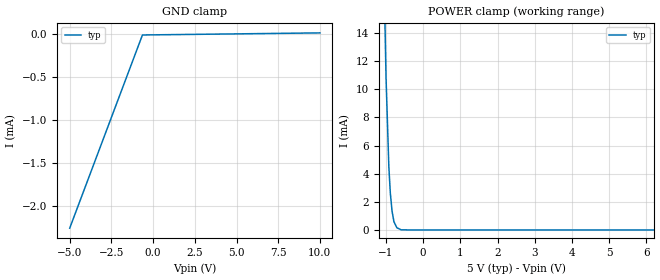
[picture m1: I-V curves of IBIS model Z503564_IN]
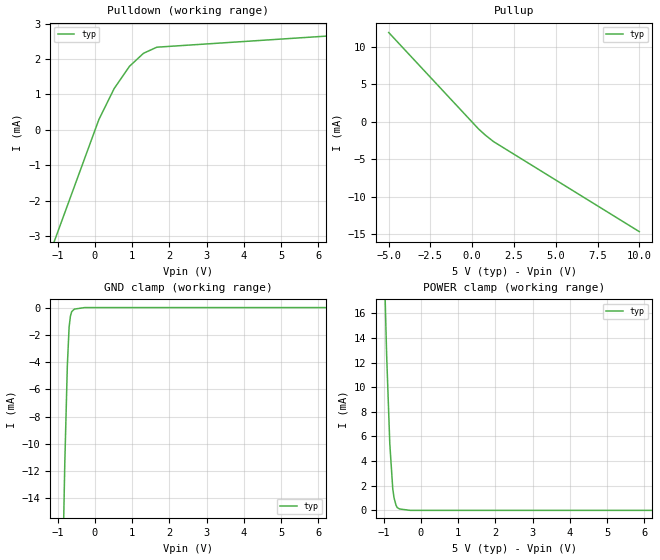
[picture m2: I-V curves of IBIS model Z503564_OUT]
| YOU ARE ONLY AUTHORIZED TO USE THIS SOFTWARE
| ACCORDING TO LICENSOR'S LICENSE RESTRICTIONS.
[IBIS Ver] 3.1
[File Name] mc14075bcd.ibs
[File Rev] 2.0
[Source] Measured and created by ICX Technology
[Date] Friday 7/14/00 9:07:53 AM
[Copyright]
| (C) COPYRIGHT 1993-2000
| MENTOR GRAPHICS CORPORATION
| ICX STANDARD LIBRARY, ICX PROJECT MODELING,
| ICX CUSTOM MODELING, ICX VENDOR MODEL
| ALL RIGHTS RESERVED.
| THE FOLLOWING ARE TRADEMARKS OR SERVICE MARKS OF
| MENTOR GRAPHICS CORPORATION:ICX (R), ICX STANDARD
| LIBRARY(R), ICX PROJECT MODELING(R), ICX CUSTOM
| MODELING(R), qualityIBIS(TM), MODELVIEWER(TM),
| AND MODELEDITOR(TM)
| ALL COPIES OF SOFTWARE, INCLUDING BUT NOT LIMITED TO
| ANY MODIFICATIONS, ENHANCEMENTS OR DERIVATIVE WORKS,
| MUST CONTAIN ALL MENTOR GRAPHICS CORPORATION'S
| NOTICES AND LEGENDS, INCLUDING THOSE EMBEDDED IN
| SOFTWARE AND THOSE AFFIXED TO SOFTWARE MEDIUM
| AND CONTAINER, AS RECEIVED FROM MENTOR GRAPHICS
| CORPORATION.
|  ZAP Model Builder 2.7
[Component] MC14075BCD
[Manufacturer] OnSemiconductor
[Package]
| variable   typ   min   max
R_pkg  .155ohms NA NA
L_pkg  3.028nH NA NA
C_pkg  .381pF NA NA
[Pin] signal_name  model_name  R_pin  L_pin C_pin
1 IN1A Z503564_IN .16 3.587n .407p
2 IN2A Z503564_IN .156 3.147n .387p
3 IN1B Z503564_IN .152 2.717n .367p
4 IN2B Z503564_IN .148 2.297n .347p
5 IN3B Z503564_IN .152 2.717n .367p
6 OUTB Z503564_OUT .156 3.147n .387p
7 VSS POWER .16 3.587n .407p
8 IN3A Z503564_IN .16 3.587n .407p
9 OUTA Z503564_OUT .156 3.147n .387p
10 OUTC Z503564_OUT .152 2.717n .367p
11 IN1C Z503564_IN .148 2.297n .347p
12 IN2C Z503564_IN .152 2.717n .367p
13 IN3C Z503564_IN .156 3.147n .387p
14 VDD POWER .16 3.587n .407p
| Models and submodels in the file (2): Z503564_IN (Input), Z503564_OUT (Output)
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| (C) COPYRIGHT 1993-2000
| MENTOR GRAPHICS CORPORATION
| ICX STANDARD LIBRARY, ICX PROJECT MODELING,
| ICX CUSTOM MODELING, ICX VENDOR MODEL
| ALL RIGHTS RESERVED.
| THE FOLLOWING ARE TRADEMARKS OR SERVICE MARKS OF
| MENTOR GRAPHICS CORPORATION:ICX (R), ICX STANDARD
| LIBRARY(R), ICX PROJECT MODELING(R), ICX CUSTOM
| MODELING(R), qualityIBIS(TM), MODELVIEWER(TM),
| AND MODELEDITOR(TM)
| ALL COPIES OF SOFTWARE, INCLUDING BUT NOT LIMITED TO
| ANY MODIFICATIONS, ENHANCEMENTS OR DERIVATIVE WORKS,
| MUST CONTAIN ALL MENTOR GRAPHICS CORPORATION'S
| NOTICES AND LEGENDS, INCLUDING THOSE EMBEDDED IN
| SOFTWARE AND THOSE AFFIXED TO SOFTWARE MEDIUM
| AND CONTAINER, AS RECEIVED FROM MENTOR GRAPHICS
| CORPORATION.
| Model Application Version 1.89 2/18/99.
[Model] Z503564_IN
Model_type Input
Vinl = 1.500V
Vinh = 3.500V
C_comp 4.000pF NA NA
| variable typ   min   max
[Voltage Range] 5.000V NA NA
[GND Clamp Reference] 0.000V NA NA
[POWER Clamp Reference] 5.000V NA NA
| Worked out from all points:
|   POWER clamp passes 1 mA (typ) near -0.81 V on its own axis
[GND Clamp]
-5V       -2.258mA   NA         NA
-639.5mV  -14.51uA   NA         NA
10V       9.672uA    NA         NA
[POWER Clamp]
-5V       556.6mA    NA         NA
-999mV    10.88mA    NA         NA
-923mV    4.515mA    NA         NA
-883mV    2.621mA    NA         NA
-836mV    1.33mA     NA         NA
-786mV    583.6uA    NA         NA
-708mV    160.6uA    NA         NA
-592mV    9.878uA    NA         NA
-296mV    0A         NA         NA
10V       0A         NA         NA
| (C) COPYRIGHT 1993-2000
| MENTOR GRAPHICS CORPORATION
| ICX STANDARD LIBRARY, ICX PROJECT MODELING,
| ICX CUSTOM MODELING, ICX VENDOR MODEL
| ALL RIGHTS RESERVED.
| THE FOLLOWING ARE TRADEMARKS OR SERVICE MARKS OF
| MENTOR GRAPHICS CORPORATION:ICX (R), ICX STANDARD
| LIBRARY(R), ICX PROJECT MODELING(R), ICX CUSTOM
| MODELING(R), qualityIBIS(TM), MODELVIEWER(TM),
| AND MODELEDITOR(TM)
| ALL COPIES OF SOFTWARE, INCLUDING BUT NOT LIMITED TO
| ANY MODIFICATIONS, ENHANCEMENTS OR DERIVATIVE WORKS,
| MUST CONTAIN ALL MENTOR GRAPHICS CORPORATION'S
| NOTICES AND LEGENDS, INCLUDING THOSE EMBEDDED IN
| SOFTWARE AND THOSE AFFIXED TO SOFTWARE MEDIUM
| AND CONTAINER, AS RECEIVED FROM MENTOR GRAPHICS
| CORPORATION.
| Model Application Version 1.89 2/18/99.
[Model] Z503564_OUT
Model_type Output
Vref=0.000V
Rref=500.0Mohms
Cref=50.00pF
Vmeas=2.500V
C_comp 8.000pF NA NA
| variable typ   min   max
[Voltage Range] 5.000V NA NA
[POWER Clamp Reference] 5.000V NA NA
[Pullup Reference] 5.000V NA NA
[Pulldown Reference] 0.000V NA NA
[GND Clamp Reference] 0.000V NA NA
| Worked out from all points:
|   slope of the pulldown table from 0 to 0.75 V, typ, clamps not added: 488 ohm
|   slope of the pullup table from 0 to 0.75 V, typ, clamps not added: 453 ohm
|   GND clamp passes 1 mA (typ) near -0.68 V on its own axis
|   POWER clamp passes 1 mA (typ) near -0.72 V on its own axis
[GND Clamp]
-5V       -594.9mA   NA         NA
-810.4mV  -11.45mA   NA         NA
-742.2mV  -4.284mA   NA         NA
-694.6mV  -1.442mA   NA         NA
-659.7mV  -638.3uA   NA         NA
-625mV    -298.1uA   NA         NA
-551.8mV  -111.6uA   NA         NA
-275.9mV  0A         NA         NA
10V       0A         NA         NA
[Pulldown]
-5V       -14.39mA   NA         NA
103.9mV   288.6uA    NA         NA
514.3mV   1.165mA    NA         NA
926.1mV   1.795mA    NA         NA
1.303V    2.163mA    NA         NA
1.66V     2.335mA    NA         NA
10V       2.909mA    NA         NA
[Pullup]
-5V       11.93mA    NA         NA
376mV     -944.1uA   NA         NA
786mV     -1.774mA   NA         NA
1.274V    -2.635mA   NA         NA
10V       -14.66mA   NA         NA
[POWER Clamp]
-5V       483.1mA    NA         NA
-920mV    12.66mA    NA         NA
-835mV    5.433mA    NA         NA
-756mV    1.783mA    NA         NA
-722mV    1.036mA    NA         NA
-669mV    425uA      NA         NA
-635mV    228.5uA    NA         NA
-577mV    115.4uA    NA         NA
-288.5mV  0A         NA         NA
10V       0A         NA         NA
[Ramp]
| variable typ min max
dV/dt_r 2.548/12.60n NA NA
dV/dt_f 2.548/11.52n NA NA
R_load = 2.500kOhms
